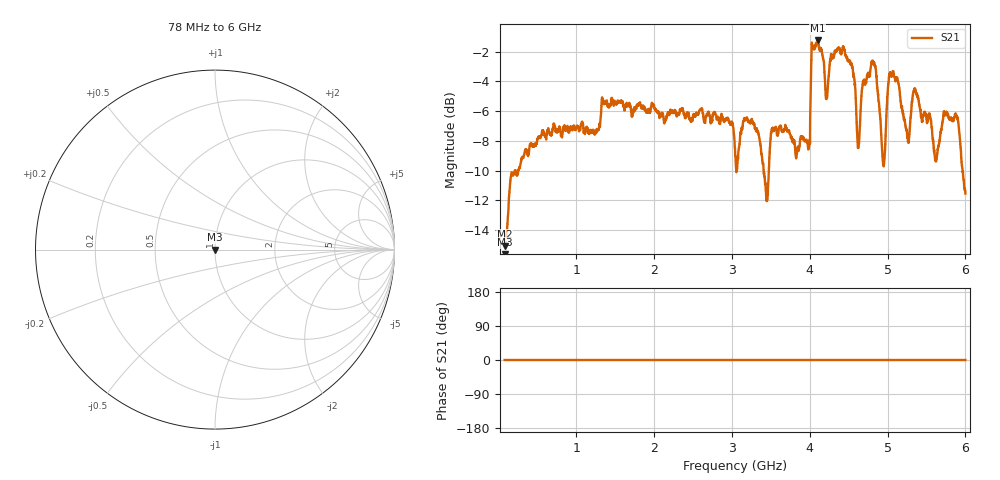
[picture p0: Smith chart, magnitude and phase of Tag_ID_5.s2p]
!	Parâmetros S - Tag_ID_5
#	Hz	S	MA	R	50
!	Freq	magS11	angS11	magS21	angS21	magS12	angS12	magS22	angS22
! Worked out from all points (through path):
!   5923 points, 78 MHz to 6 GHz, reference 50 ohm
!   highest |S21| = -1.25 dB at 4.104 GHz (marker M1); lowest = -15.1 dB at 82 MHz (marker M2)
!   lowest |S11| = - dB at 78 MHz (marker M3), VSWR 1.00, Z = 50 + j0 ohm
!   |S11| at or under -10 dB: start of sweep to end of sweep
!   S12 and S22 are empty: the file has one direction only
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7.8e7  0 0.0  0.1761 0.0  0 0.0  0 0.0
8.2e7  0 0.0  0.176 0.0  0 0.0  0 0.0
3.32e8  0 0.0  0.3622 0.0  0 0.0  0 0.0
1.065e9  0 0.0  0.4542 0.0  0 0.0  0 0.0
2.052e9  0 0.0  0.5007 0.0  0 0.0  0 0.0
3.039e9  0 0.0  0.3752 0.0  0 0.0  0 0.0
3.262e9  0 0.0  0.4604 0.0  0 0.0  0 0.0
3.443e9  0 0.0  0.2518 0.0  0 0.0  0 0.0
3.537e9  0 0.0  0.4287 0.0  0 0.0  0 0.0
3.974e9  0 0.0  0.3866 0.0  0 0.0  0 0.0
4.026e9  0 0.0  0.8521 0.0  0 0.0  0 0.0
4.104e9  0 0.0  0.8658 0.0  0 0.0  0 0.0
4.217e9  0 0.0  0.5538 0.0  0 0.0  0 0.0
4.449e9  0 0.0  0.7983 0.0  0 0.0  0 0.0
4.625e9  0 0.0  0.3773 0.0  0 0.0  0 0.0
4.816e9  0 0.0  0.724 0.0  0 0.0  0 0.0
4.949e9  0 0.0  0.3265 0.0  0 0.0  0 0.0
5.013e9  0 0.0  0.626 0.0  0 0.0  0 0.0
5.362e9  0 0.0  0.58 0.0  0 0.0  0 0.0
5.62e9  0 0.0  0.339 0.0  0 0.0  0 0.0
5.882e9  0 0.0  0.4855 0.0  0 0.0  0 0.0
6e9  0 0.0  0.2645 0.0  0 0.0  0 0.0
